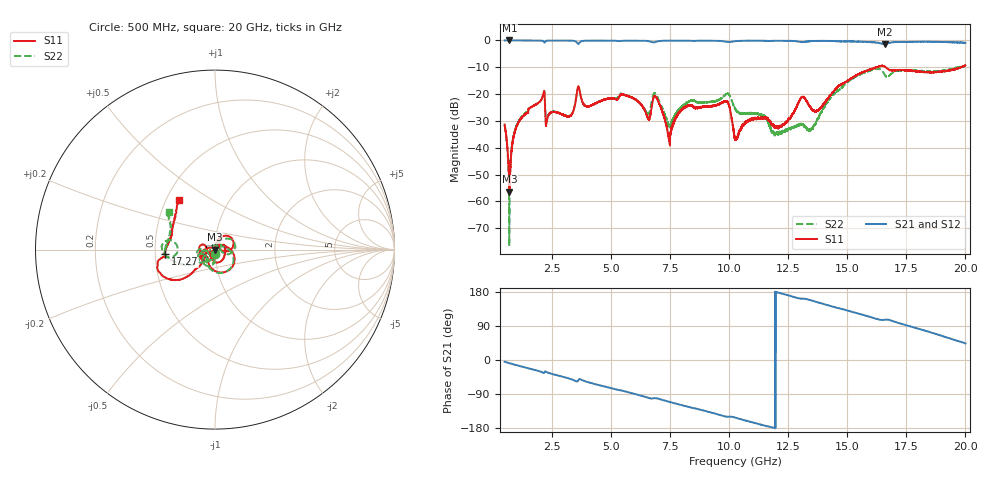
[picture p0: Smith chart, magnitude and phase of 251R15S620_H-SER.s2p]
!{251R15S620}
!Johanson Technology Inc.
!www.johansontechnology.com
!Test Board Conditions:
!Substrate Type  RO4350B
!Substrate Thickness  20 mil
!Substrate Dk  3.66
!TL Type: GCPW
!TL Trace Width  34 mil
!TL Gap  10 mil
!Electrode orientation  Horizontal
!DUT TOPOLOGY	SERIES
!Mounting Pad LxW  26x52 mil
! Created Thu Mar 12 17:15:32 2020
# mhz S ma R 50
! 2 Port Network Data from SP1.SP block
! freq  magS11  angS11  magS21  angS21  magS12  angS12  magS22  angS22
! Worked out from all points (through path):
!   19501 points, 500 MHz to 20 GHz, reference 50 ohm
!   highest |S21| = 0.00 dB at 703 MHz (marker M1); lowest = -1.4 dB at 16.59 GHz (marker M2)
!   group delay of S21, straight-line fit = 43.3 ps
!   lowest |S11| = -56.4 dB at 706 MHz (marker M3), VSWR 1.00, Z = 49.9 + j0.0366 ohm
!   |S11| at or under -10 dB: start of sweep to 16.23 GHz; 16.22972 GHz to 16.23348 GHz (3.758 MHz wide, 0.0232 % of centre); 16.63 GHz to 19.81 GHz (3.186 GHz wide, 17.5 % of centre) (the widest 3 of 8)
!   |S22| runs from -76.7 to -9.5 dB; largest |S21 - S12| = 0.022
!   S11 on the Smith chart (normalised r, x): 500 MHz: 0.99, -0.05; 17.27 GHz: 0.56, -0.03; 20 GHz: 0.58, +0.36
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500  0.02714 -96.8  0.9986 -4.4  0.9991 -4.4  0.02649 -94.7
703  0.001594 175.5  0.9998 -8.4  0.9981 -8.5  0.0004786 37.6
706  0.001509 165.9  0.9992 -8.5  0.9995 -8.4  0.0007827 54.3
978  0.02323 83.0  0.9989 -13.3  0.9993 -13.3  0.02397 72.4
1598  0.056 73.4  0.9977 -23.4  0.9969 -23.4  0.05651 60.0
3212  0.03825 42.4  0.9943 -48.7  0.994 -48.6  0.03878 30.6
3750  0.0818 -116.6  0.9657 -52.2  0.9648 -52.2  0.08032 -124.8
5590  0.09573 -162.3  0.9882 -82.7  0.9879 -82.8  0.09603 -176.7
6582  0.03424 -151.0  0.9732 -99.8  0.9725 -99.7  0.04226 -151.5
7000  0.07335 -170.3  0.9675 -102.0  0.9671 -102.0  0.08227 -170.9
7472  0.01317 130.0  0.992 -110.5  0.9917 -110.5  0.02494 -143.9
8158  0.05739 26.2  0.9894 -121.7  0.9892 -121.8  0.06558 -94.8
9872  0.07312 -73.9  0.9474 -149.3  0.9474 -149.3  0.09953 -113.6
10250  0.01432 -95.1  0.9692 -151.9  0.9681 -151.8  0.05396 -147.1
12257  0.02655 -142.2  0.9859 174.8  0.9873 174.9  0.02004 -72.7
13099  0.08822 177.4  0.9325 161.8  0.9322 161.8  0.02754 147.7
13500  0.05229 163.7  0.9771 156.7  0.9738 156.9  0.02218 -18.3
15056  0.1826 -134.6  0.9655 129.8  0.9628 129.6  0.1734 -150.1
16586  0.3273 -167.8  0.8552 106.1  0.8495 106.3  0.2298 169.9
16750  0.2891 -172.0  0.8962 106.1  0.8877 105.8  0.2143 -174.2
17270  0.2804 -174.5  0.9378 95.9  0.9335 95.8  0.2774 -173.4
20000  0.3424 126.4  0.9032 43.9  0.8993 44.1  0.3328 140.5
